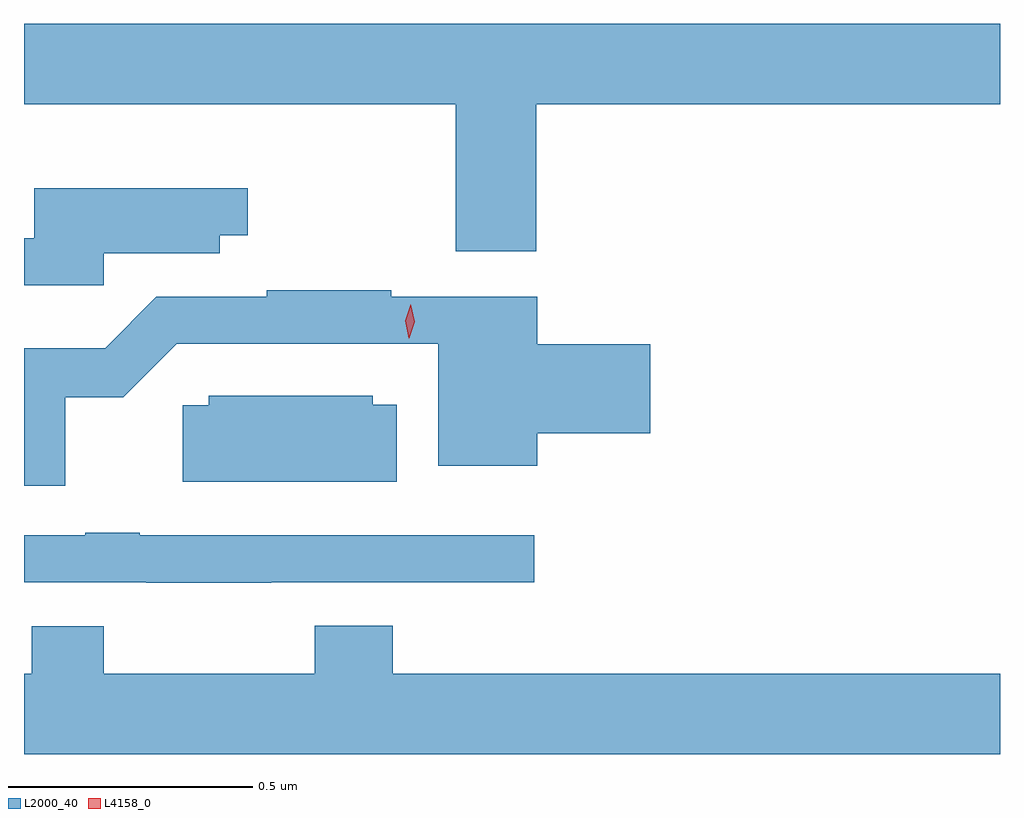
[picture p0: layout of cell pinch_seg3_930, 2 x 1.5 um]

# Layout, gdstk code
import gdstk
lib = gdstk.Library(unit=1e-6, precision=1e-09)
def P(c, l, *ps):  # polygons
    for p in ps: c.add(gdstk.Polygon(p, *l))
L2000_40 = (2000, 40)
L4158_0 = (4158, 0)

pinch_seg3_930 = lib.new_cell('pinch_seg3_930')
P(pinch_seg3_930, L2000_40, [(780.2,674.276),(781.15,674.276),(781.15,674.44),(779.15,674.44),(779.15,674.276),(780.035,674.276),(780.035,673.974),(780.2,673.974)],
  [(779.313,673.97),(779.551,673.97),(779.551,674.007),(779.608,674.007),(779.608,674.103),(779.171,674.103),(779.171,674.001),(779.15,674.001),(779.15,673.905),(779.313,673.905)],
  [(779.235,673.675),(779.353,673.675),(779.463,673.785),(779.999,673.785),(779.999,673.535),(780.202,673.535),(780.202,673.601),(780.433,673.601),(780.433,673.784),(780.202,673.784),(780.202,673.881),(779.903,673.881),(779.903,673.894),(779.647,673.894),(779.647,673.881),(779.421,673.881),(779.316,673.776),(779.15,673.776),(779.15,673.494),(779.235,673.494)],
  [(779.914,673.66),(779.865,673.66),(779.865,673.678),(779.529,673.678),(779.529,673.659),(779.475,673.659),(779.475,673.502),(779.914,673.502)],
  [(779.657,673.296),(780.196,673.296),(780.196,673.392),(779.387,673.392),(779.387,673.397),(779.276,673.397),(779.276,673.392),(779.15,673.392),(779.15,673.296),(779.401,673.296),(779.401,673.295),(779.657,673.295)],
  [(781.15,673.108),(779.906,673.108),(779.906,673.207),(779.746,673.207),(779.746,673.108),(779.313,673.108),(779.313,673.206),(779.166,673.206),(779.166,673.108),(779.15,673.108),(779.15,672.944),(781.15,672.944)])
P(pinch_seg3_930, L4158_0, [(779.938,673.796),(779.938,673.796),(779.931,673.832),(779.943,673.866),(779.943,673.866),(779.943,673.866),(779.951,673.83),(779.939,673.796)])

lib.write_gds('pinch_seg3_930.gds')
